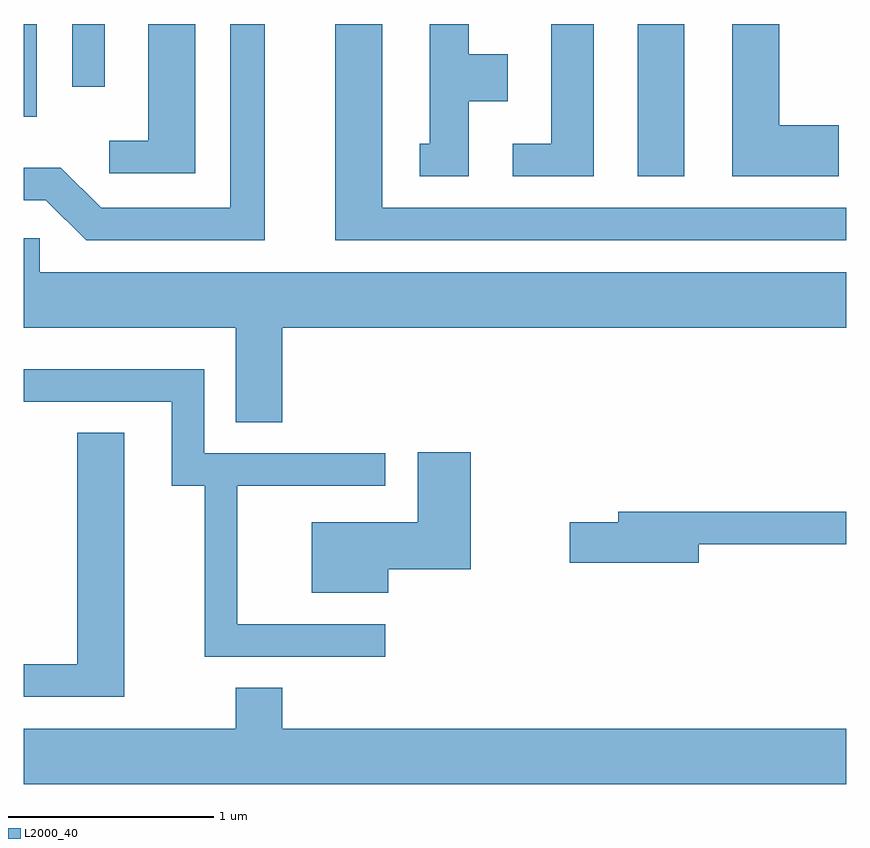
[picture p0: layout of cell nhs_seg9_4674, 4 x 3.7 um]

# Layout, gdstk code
import gdstk
lib = gdstk.Library(unit=1e-6, precision=1e-09)
def R(c, l, rs):  # rectangles x0, y0, x1, y1
    for r in rs: c.add(gdstk.rectangle(r[:2], r[2:], *l))
def P(c, l, *ps):  # polygons
    for p in ps: c.add(gdstk.Polygon(p, *l))
L2000_40 = (2000, 40)

nhs_seg9_4674 = lib.new_cell('nhs_seg9_4674')
R(nhs_seg9_4674, L2000_40, [(326.596,1963.691,326.824,1964.432), (323.611,1963.981,323.674,1964.432), (323.846,1964.128,324.004,1964.432)])
P(nhs_seg9_4674, L2000_40, [(325.774,1964.056),(325.964,1964.056),(325.964,1964.284),(325.774,1964.284),(325.774,1964.432),(325.586,1964.432),(325.586,1963.849),(325.538,1963.849),(325.538,1963.691),(325.774,1963.691)],
  [(326.384,1964.432),(326.176,1964.432),(326.176,1963.849),(325.988,1963.849),(325.988,1963.691),(326.384,1963.691)],
  [(327.611,1963.539),(325.354,1963.539),(325.354,1964.432),(325.126,1964.432),(325.126,1963.381),(327.611,1963.381)],
  [(327.574,1963.939),(327.284,1963.939),(327.284,1964.432),(327.056,1964.432),(327.056,1963.691),(327.574,1963.691)],
  [(324.784,1964.432),(324.616,1964.432),(324.616,1963.539),(323.987,1963.539),(323.792,1963.734),(323.611,1963.734),(323.611,1963.576),(323.719,1963.576),(323.914,1963.381),(324.784,1963.381)],
  [(324.444,1964.432),(324.216,1964.432),(324.216,1963.864),(324.028,1963.864),(324.028,1963.706),(324.444,1963.706)],
  [(324.869,1962.956),(327.611,1962.956),(327.611,1963.224),(323.689,1963.224),(323.689,1963.389),(323.611,1963.389),(323.611,1962.956),(324.641,1962.956),(324.641,1962.496),(324.869,1962.496)],
  [(325.368,1961.514),(324.649,1961.514),(324.649,1962.186),(325.368,1962.186),(325.368,1962.344),(324.489,1962.344),(324.489,1962.754),(323.611,1962.754),(323.611,1962.596),(324.331,1962.596),(324.331,1962.186),(324.491,1962.186),(324.491,1961.356),(325.368,1961.356)],
  [(324.099,1962.444),(323.871,1962.444),(323.871,1961.319),(323.611,1961.319),(323.611,1961.161),(324.099,1961.161)],
  [(325.384,1961.781),(325.784,1961.781),(325.784,1962.349),(325.526,1962.349),(325.526,1962.009),(325.011,1962.009),(325.011,1961.666),(325.384,1961.666)],
  [(326.894,1961.901),(327.611,1961.901),(327.611,1962.059),(326.501,1962.059),(326.501,1962.009),(326.266,1962.009),(326.266,1961.811),(326.894,1961.811)],
  [(327.611,1961.004),(324.869,1961.004),(324.869,1961.204),(324.641,1961.204),(324.641,1961.004),(323.611,1961.004),(323.611,1960.736),(327.611,1960.736)])

lib.write_gds('nhs_seg9_4674.gds')
